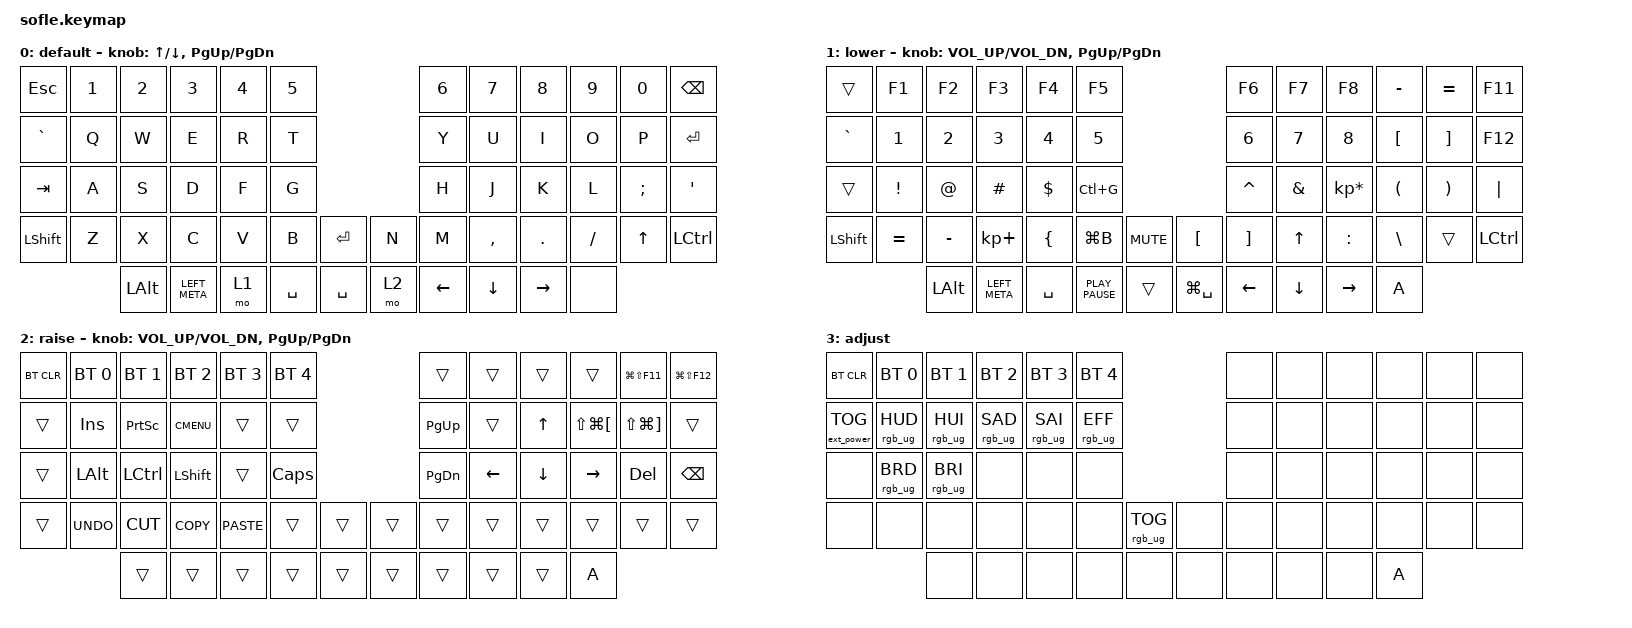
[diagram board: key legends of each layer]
/*
 * Copyright (c) 2020 The ZMK Contributors
 *
 * SPDX-License-Identifier: MIT
 */

#include <behaviors.dtsi>
#include <dt-bindings/zmk/bt.h>
#include <dt-bindings/zmk/ext_power.h>
#include <dt-bindings/zmk/keys.h>
#include <dt-bindings/zmk/rgb.h>

#define BASE 0
#define LOWER 1
#define RAISE 2
#define ADJUST 3

/ {
    // Activate ADJUST layer by pressing raise and lower

    conditional_layers {
        compatible = "zmk,conditional-layers";

        adjust_layer {
            if-layers = <LOWER RAISE>;
            then-layer = <ADJUST>;
        };
    };

    keymap {
        compatible = "zmk,keymap";

        default_layer {
            label = "default";

            // ------------------------------------------------------------------------------------------------------------
            // |   `   |  1  |  2  |  3   |  4   |  5   |                   |  6   |  7    |  8    |  9   |   0   |       |
            // |  ESC  |  Q  |  W  |  E   |  R   |  T   |                   |  Y   |  U    |  I    |  O   |   P   | BKSPC |
            // |  TAB  |  A  |  S  |  D   |  F   |  G   |                   |  H   |  J    |  K    |  L   |   ;   |   '   |
            // | SHIFT |  Z  |  X  |  C   |  V   |  B   |  MUTE  |  |       |  N   |  M    |  ,    |  .   |   /   | SHIFT |
            //               | GUI | ALT  | CTRL | LOWER|  ENTER |  | SPACE | RAISE| CTRL  | ALT   | GUI  |

            bindings = <
&kp ESC    &kp N1  &kp N2        &kp N3         &kp N4  &kp N5                         &kp N6          &kp N7          &kp N8      &kp N9    &kp N0        &kp BACKSPACE
&kp GRAVE  &kp Q   &kp W         &kp E          &kp R   &kp T                          &kp Y           &kp U           &kp I       &kp O     &kp P         &kp RET
&kp TAB    &kp A   &kp S         &kp D          &kp F   &kp G                          &kp H           &kp J           &kp K       &kp L     &kp SEMI      &kp SQT
&kp LSHFT  &kp Z   &kp X         &kp C          &kp V   &kp B      &kp RET      &kp N  &kp M           &kp COMMA       &kp PERIOD  &kp FSLH  &kp UP_ARROW  &kp LEFT_CONTROL
                   &kp LEFT_ALT  &kp LEFT_META  &mo 1   &kp SPACE  &kp SPACE    &mo 2  &kp LEFT_ARROW  &kp DOWN_ARROW  &kp RIGHT   &none
            >;

            sensor-bindings =
                <&inc_dec_kp UP_ARROW DOWN_ARROW>,
                <&inc_dec_kp PG_UP PG_DN>;
        };

        lower_layer {
            label = "lower";

            // TODO: Some binds are waiting for shifted keycode support.
            // ------------------------------------------------------------------------------------------------------------
            // |       |  F1 |  F2 |  F3  |  F4  |  F5  |                   |  F6  |  F7   |  F8   |  F9  |  F10  |  F11  |
            // |   `   |  1  |  2  |  3   |  4   |  5   |                   |  6   |  7    |  8    |  9   |   0   |  F12  |
            // |       |  !  |  @  |  #   |  $   |  %   |                   |  ^   |  &    |  *    |  (   |   )   |   |   |
            // |       |  =  |  -  |  +   |  {   |  }   |        |  |       |  [   |  ]    |  ;    |  :   |   \   |       |
            //               |     |      |      |      |        |  |       |      |       |       |      |

            bindings = <
&trans          &kp F1     &kp F2        &kp F3         &kp F4     &kp F5                                         &kp F6          &kp F7          &kp F8           &kp MINUS         &kp EQUAL          &kp F11
&kp GRAVE       &kp N1     &kp N2        &kp N3         &kp N4     &kp N5                                         &kp N6          &kp N7          &kp N8           &kp LEFT_BRACKET  &kp RIGHT_BRACKET  &kp F12
&trans          &kp EXCL   &kp AT        &kp HASH       &kp DLLR   &kp LC(G)                                      &kp CARET       &kp AMPS        &kp KP_MULTIPLY  &kp LPAR          &kp RPAR           &kp PIPE
&kp LEFT_SHIFT  &kp EQUAL  &kp MINUS     &kp KP_PLUS    &kp LBRC   &kp LG(B)         &kp K_MUTE    &kp LBKT       &kp RBKT        &kp UP_ARROW    &kp COLON        &kp BSLH          &trans             &kp LEFT_CONTROL
                           &kp LEFT_ALT  &kp LEFT_META  &kp SPACE  &kp K_PLAY_PAUSE  &trans        &kp LG(SPACE)  &kp LEFT_ARROW  &kp DOWN_ARROW  &kp RIGHT_ARROW  &kp A
            >;

            sensor-bindings = <&inc_dec_kp C_VOL_UP C_VOL_DN &inc_dec_kp PG_UP PG_DN>;
        };

        raise_layer {
            label = "raise";

            // ------------------------------------------------------------------------------------------------------------
            // | BTCLR | BT1  | BT2  |  BT3  |  BT4  |  BT5 |                |      |      |       |      |       |       |
            // |       | INS  | PSCR | GUI   |       |      |                | PGUP |      |   ^   |      |       |       |
            // |       | ALT  | CTRL | SHIFT |       | CAPS |                | PGDN |   <- |   v   |  ->  |  DEL  | BKSPC |
            // |       | UNDO | CUT  | COPY  | PASTE |      |      |  |      |      |      |       |      |       |       |
            //                |      |       |       |      |      |  |      |      |      |       |      |

            bindings = <
&bt BT_CLR  &bt BT_SEL 0  &bt BT_SEL 1  &bt BT_SEL 2  &bt BT_SEL 3  &bt BT_SEL 4                    &trans     &trans    &trans    &trans                    &kp LG(LS(F11))            &kp LG(LS(F12))
&trans      &kp INS       &kp PSCRN     &kp K_CMENU   &trans        &trans                          &kp PG_UP  &trans    &kp UP    &kp LS(LG(LEFT_BRACKET))  &kp LS(LG(RIGHT_BRACKET))  &trans
&trans      &kp LALT      &kp LCTRL     &kp LSHFT     &trans        &kp CLCK                        &kp PG_DN  &kp LEFT  &kp DOWN  &kp RIGHT                 &kp DEL                    &kp BSPC
&trans      &kp K_UNDO    &kp K_CUT     &kp K_COPY    &kp K_PASTE   &trans        &trans    &trans  &trans     &trans    &trans    &trans                    &trans                     &trans
                          &trans        &trans        &trans        &trans        &trans    &trans  &trans     &trans    &trans    &kp A
            >;

            sensor-bindings = <&inc_dec_kp C_VOL_UP C_VOL_DN &inc_dec_kp PG_UP PG_DN>;
        };

        adjust_layer {
            // ----------------------------------------------------------------------------------------------------------------------------
            // | BTCLR  |  BT1    |  BT2    |   BT3   |   BT4   |   BT5   |                  |      |      |       |      |       |       |
            // | EXTPWR | RGB_HUD | RGB_HUI | RGB_SAD | RGB_SAI | RGB_EFF |                  |      |      |       |      |       |       |
            // |        | RGB_BRD | RGB_BRI |         |         |         |                  |      |      |       |      |       |       |
            // |        |         |         |         |         |         | RGB_TOG | |      |      |      |       |      |       |       |
            //                    |         |         |         |         |         | |      |      |      |       |      |

            label = "adjust";
            bindings = <
&bt BT_CLR         &bt BT_SEL 0     &bt BT_SEL 1     &bt BT_SEL 2     &bt BT_SEL 3     &bt BT_SEL 4                               &none  &none  &none  &none  &none  &none
&ext_power EP_TOG  &rgb_ug RGB_HUD  &rgb_ug RGB_HUI  &rgb_ug RGB_SAD  &rgb_ug RGB_SAI  &rgb_ug RGB_EFF                            &none  &none  &none  &none  &none  &none
&none              &rgb_ug RGB_BRD  &rgb_ug RGB_BRI  &none            &none            &none                                      &none  &none  &none  &none  &none  &none
&none              &none            &none            &none            &none            &none            &rgb_ug RGB_TOG    &none  &none  &none  &none  &none  &none  &none
                                    &none            &none            &none            &none            &none              &none  &none  &none  &none  &kp A
            >;
        };
    };
};
